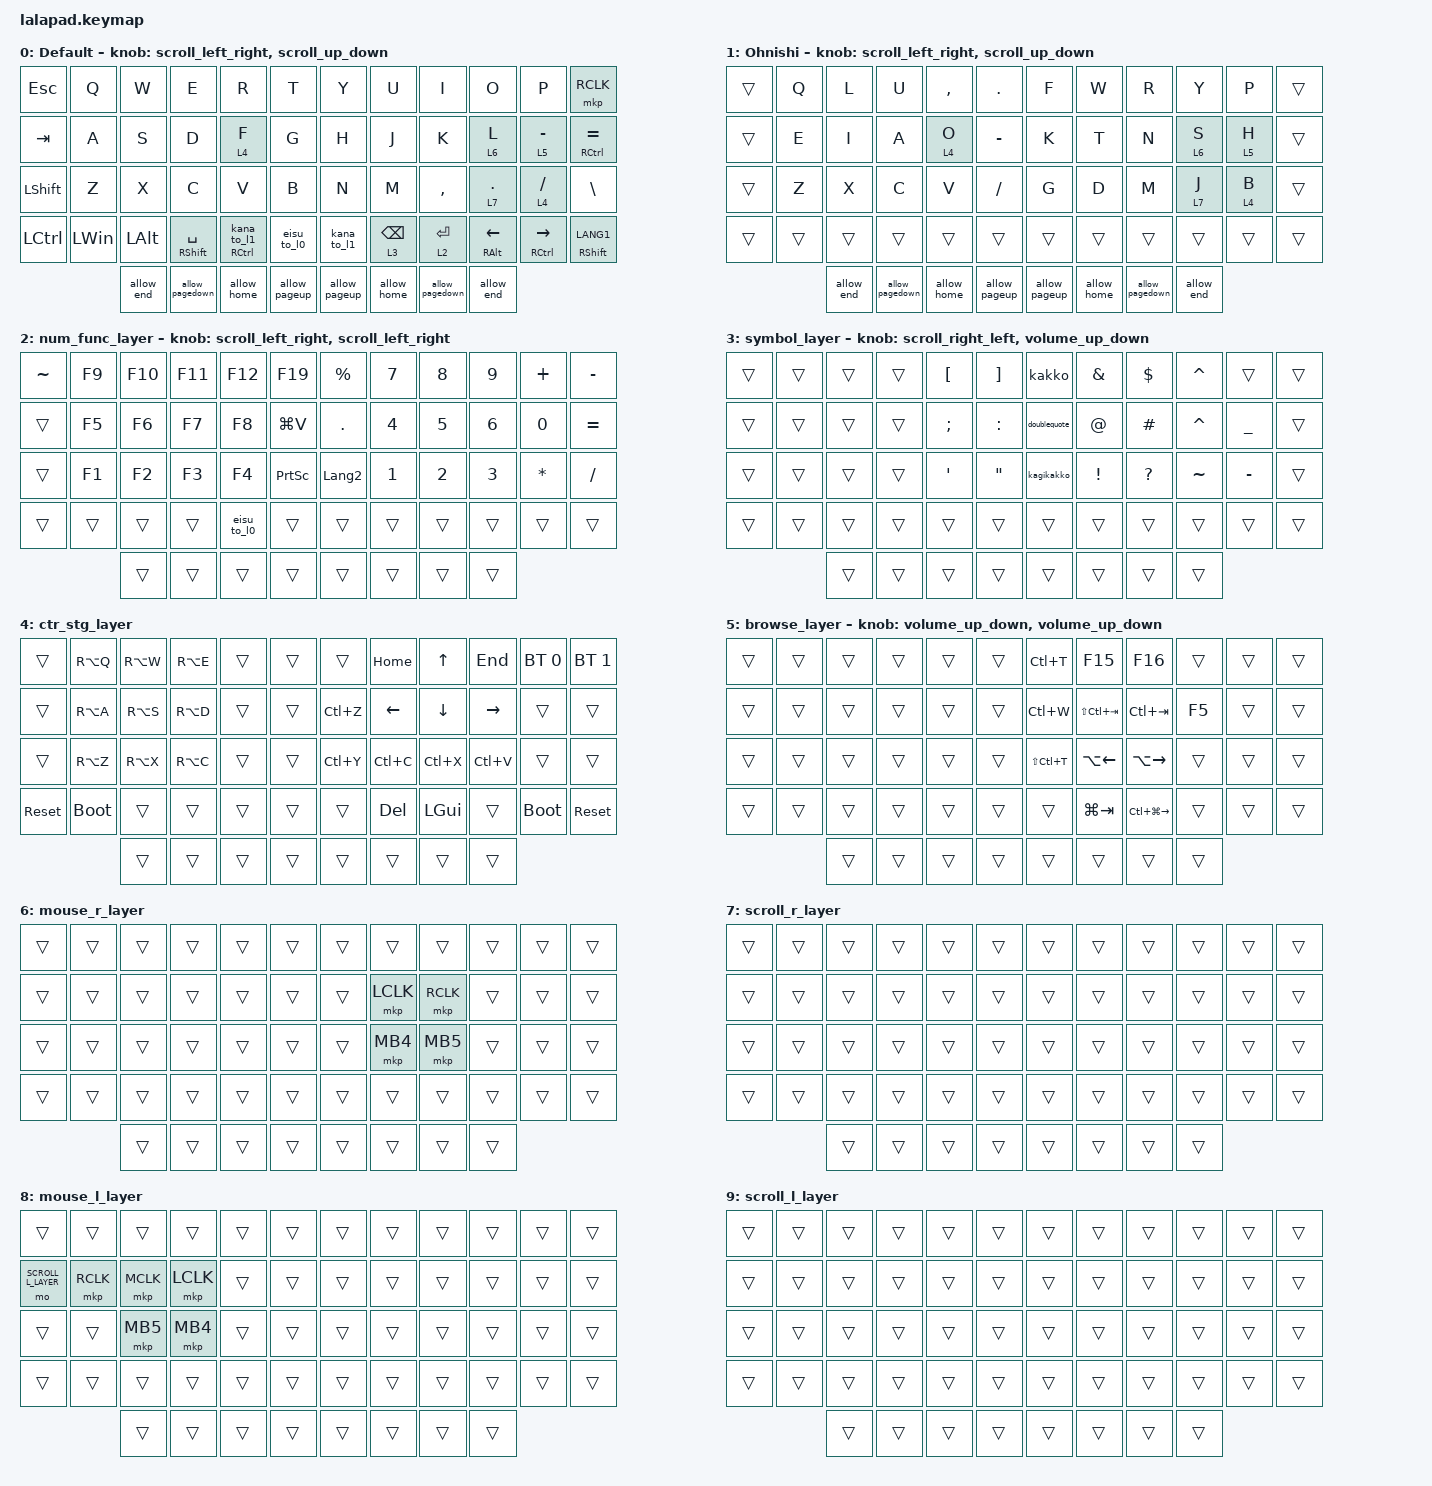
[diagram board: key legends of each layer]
#include <input/processors.dtsi>
#include <behaviors.dtsi>
#include <dt-bindings/zmk/bt.h>
#include <dt-bindings/zmk/keys.h>
#include <dt-bindings/zmk/pointing.h>

#define DEFAULT_LAYER   0
#define OHNISHI_LAYER   1
#define NUM_FUNC_LAYER  2
#define SYMBOL_LAYER    3
#define CTR_STG_LAYER   4
#define BROWSE_LAYER    5
#define MOUSE_R_LAYER   6
#define SCROLL_R_LAYER  7
#define MOUSE_L_LAYER   8
#define SCROLL_L_LAYER  9

// Mouse Scroll Value

#define ZMK_POINTING_DEFAULT_SCRL_VAL 100

// cirque trackpad input&layer control

&glidepoint_listener_R {
    input-processors =
        <&zip_xy_transform (INPUT_TRANSFORM_XY_SWAP | INPUT_TRANSFORM_X_INVERT | INPUT_TRANSFORM_Y_INVERT)>,
        <&zip_xy_scaler 9 4>;

    //<&zip_temp_layer MOUSE_R_LAYER 500>;

    lowspeedmode {
        layers = <BROWSE_LAYER>;
        input-processors =
            <&zip_xy_transform (INPUT_TRANSFORM_XY_SWAP | INPUT_TRANSFORM_X_INVERT | INPUT_TRANSFORM_Y_INVERT)>,
            <&zip_xy_scaler 5 1>;

        //<&zip_temp_layer MOUSE_R_LAYER 500>;
    };

    scroller {
        layers = <SCROLL_R_LAYER>;
        input-processors =
            <&zip_xy_to_scroll_mapper>,
            <&zip_scroll_transform (INPUT_TRANSFORM_XY_SWAP | INPUT_TRANSFORM_X_INVERT)>,
            // XではなくYを反転,,,,,,,,,
            <&zip_scroll_scaler 1 8>;
    };
};

&glidepoint_listener_L {
    input-processors =
        <&zip_xy_transform (INPUT_TRANSFORM_XY_SWAP | INPUT_TRANSFORM_X_INVERT | INPUT_TRANSFORM_Y_INVERT)>,
        <&zip_xy_scaler 5 2>,
        <&zip_temp_layer MOUSE_L_LAYER 500>;

    lowspeedmode {
        layers = <BROWSE_LAYER>;
        input-processors =
            <&zip_xy_transform (INPUT_TRANSFORM_XY_SWAP | INPUT_TRANSFORM_X_INVERT | INPUT_TRANSFORM_Y_INVERT)>,
            <&zip_xy_scaler 3 5>,
            <&zip_temp_layer MOUSE_L_LAYER 500>;
    };

    scroller {
        layers = <SCROLL_L_LAYER>;
        input-processors =
            <&zip_xy_to_scroll_mapper>,
            <&zip_scroll_transform (INPUT_TRANSFORM_XY_SWAP | INPUT_TRANSFORM_X_INVERT)>,
            <&zip_scroll_scaler 1 6>;
    };
};

/ {
    behaviors {
        // Encoder to Mouse Scroll

        scroll_up_down: sensor_scroll_up_down {
            compatible = "zmk,behavior-sensor-rotate";
            #sensor-binding-cells = <0>;
            bindings = <&msc SCRL_UP>, <&msc SCRL_DOWN>;

            tap-ms = <20>;
            label = "SCROLL_UP_DOWN";
        };

        scroll_down_up: sensor_scroll_down_up {
            compatible = "zmk,behavior-sensor-rotate";
            #sensor-binding-cells = <0>;
            bindings = <&msc SCRL_DOWN>, <&msc SCRL_UP>;

            tap-ms = <20>;
            label = "SCROLL_DOWN_UP";
        };

        scroll_left_right: sensor_scroll_left_right {
            compatible = "zmk,behavior-sensor-rotate";
            #sensor-binding-cells = <0>;
            bindings = <&msc SCRL_LEFT>, <&msc SCRL_RIGHT>;

            tap-ms = <20>;
            label = "SCROLL_LEFT_RIGHT";
        };

        scroll_right_left: sensor_scroll_right_left {
            compatible = "zmk,behavior-sensor-rotate";
            #sensor-binding-cells = <0>;
            bindings = <&msc SCRL_RIGHT>, <&msc SCRL_LEFT>;

            tap-ms = <20>;
            label = "SCROLL_RIGHT_LEFT";
        };

        volume_up_down: sensor_volume_up_down {
            compatible = "zmk,behavior-sensor-rotate";
            #sensor-binding-cells = <0>;
            bindings = <&kp C_VOLUME_UP>, <&kp C_VOLUME_DOWN>;

            tap-ms = <20>;
            label = "VOLUME_UP_DOWN";
        };

        dot_comma: dot_comma {
            compatible = "zmk,behavior-mod-morph";
            #binding-cells = <0>;
            bindings = <&kp KP_DOT>, <&kp COMMA>;

            mods = <(MOD_LSFT|MOD_RSFT)>;
            label = "DOT_COMMA";
        };

        pls_minus: pls_minus {
            compatible = "zmk,behavior-mod-morph";
            #binding-cells = <0>;
            bindings = <&kp PLUS>, <&kp MINUS>;

            mods = <(MOD_LSFT|MOD_RSFT)>;
            label = "PLS_MINUS";
        };

        allow_pageup: allow_pageup {
            compatible = "zmk,behavior-mod-morph";
            #binding-cells = <0>;
            bindings = <&kp UP>, <&kp PAGE_UP>;

            mods = <(MOD_LCTL|MOD_RCTL)>;
            label = "ALLOW_PAGEUP";
        };

        allow_pagedown: allow_pagedown {
            compatible = "zmk,behavior-mod-morph";
            #binding-cells = <0>;
            bindings = <&kp DOWN>, <&kp PAGE_DOWN>;

            mods = <(MOD_LCTL|MOD_RCTL)>;
            label = "ALLOW_PAGEDOWN";
        };

        allow_home: allow_home {
            compatible = "zmk,behavior-mod-morph";
            #binding-cells = <0>;
            bindings = <&kp LEFT>, <&kp HOME>;

            mods = <(MOD_LCTL|MOD_RCTL)>;
            label = "ALLOW_HOME";
        };

        allow_end: allow_end {
            compatible = "zmk,behavior-mod-morph";
            #binding-cells = <0>;
            bindings = <&kp RIGHT>, <&kp END>;

            mods = <(MOD_LCTL|MOD_RCTL)>;
            label = "ALLOW_END";
        };

        mt2: mod_tap2 {
            compatible = "zmk,behavior-hold-tap";
            #binding-cells = <2>;
            flavor = "tap-preferred";
            tapping-term-ms = <200>;
            quick-tap-ms = <200>;
            require-prior-idle-ms = <125>;
            bindings = <&kp>, <&kp>;
        };

        // 半角（LANG2）に“する”＋ Layer 0 に固定切替

        eisu_to_l0: eisu_to_l0 {
            compatible = "zmk,behavior-macro";
            label = "EISU_TO_L0";
            #binding-cells = <0>;

            // 先にレイヤ固定 → 直後に LANG1 送信

            bindings = <&to 0 &kp LANG2>;
        };

        // かな（LANG1）に“する”＋ Layer 1 に固定切替

        kana_to_l1: kana_to_l1 {
            compatible = "zmk,behavior-macro";
            label = "KANA_TO_L1";
            #binding-cells = <0>;

            // 先にレイヤ固定 → 直後に LANG1 送信

            bindings = <&to 1 &kp LANG1>;
        };

        kakko: kakko {
            compatible = "zmk,behavior-macro";
            #binding-cells = <0>;
            bindings = <&kp LANGUAGE_2 &kp LEFT_PARENTHESIS &kp RPAR &kp LEFT>;
            label = "KAKKO";
        };

        doublequote: ten {
            compatible = "zmk,behavior-macro";
            #binding-cells = <0>;
            bindings = <&kp LANGUAGE_2 &kp DQT &kp DQT &kp LEFT>;
            label = "TEN";
        };

        kagikakko: kagikakko {
            compatible = "zmk,behavior-macro";
            #binding-cells = <0>;
            bindings = <&kp LANGUAGE_1 &kp LEFT_BRACKET &kp RIGHT_BRACKET &kp LEFT>;
            label = "KAGIKAKKO";
        };

        td_space: td_space {
            compatible = "zmk,behavior-tap-dance";
            label = "TD_SPACE";
            #binding-cells = <0>;
            tapping-term-ms = <150>;  // ダブルタップ判定時間
            // 単タップ: 'SPACE'
            // 単ホールド: RSHIFT
            // ダブルタップ: 'SPACE'

            bindings = <&mt RSHIFT SPACE>, <&kp SPACE>;
        };

        td_backspace: td_backspace {
            compatible = "zmk,behavior-tap-dance";
            label = "TD_BACKSPACE";
            #binding-cells = <0>;
            tapping-term-ms = <150>;  // ダブルタップ判定時間
            // 単タップ: 'BACKSPACE'
            // 単ホールド: レイヤ3
            // ダブルタップ: 'BACKSPACE'

            bindings = <&lt 3 BACKSPACE>, <&kp BACKSPACE>;
        };

        td_enter: td_enter {
            compatible = "zmk,behavior-tap-dance";
            label = "TD_ENTER";
            #binding-cells = <0>;
            tapping-term-ms = <150>;  // ダブルタップ判定時間
            // 単タップ: 'ENTER'
            // 単ホールド: レイヤ2
            // ダブルタップ: 'ENTER' を2回送る

            bindings = <&lt 2 ENTER>, <&kp ENTER>;
        };

        mt_L0EN: mt_L0EN {
            compatible = "zmk,behavior-hold-tap";
            label = "MT_L0EN";
            bindings = <&kp>, <&eisu_to_l0>;

            #binding-cells = <2>;
            tapping-term-ms = <200>;
            flavor = "hold-preferred";
        };

        mt_L1JP: mt_L1JP {
            compatible = "zmk,behavior-hold-tap";
            label = "MT_L1JP";
            bindings = <&kp>, <&kana_to_l1>;

            #binding-cells = <2>;
            tapping-term-ms = <200>;
        };

        mt_qs_on: mt_qs_on {
            compatible = "zmk,behavior-hold-tap";
            label = "MT_QS_ON";
            bindings = <&kp>, <&kp>;

            #binding-cells = <2>;
            tapping-term-ms = <200>;
            quick-tap-ms = <200>;
        };

        lt_qs_on: lt_qs_on {
            compatible = "zmk,behavior-hold-tap";
            label = "LT_QS_ON";
            bindings = <&mo>, <&kp>;

            #binding-cells = <2>;
            tapping-term-ms = <200>;
            quick-tap-ms = <200>;
        };

        // 例：カスタム hold で LANG2 を一発送ってからレイヤをモーメンタリ
        //mo_eisu_2: mo_eisu_2 {
        //    compatible = "yourorg,behavior-mo-with-prime";
        //    #binding-cells = <0>;
        //    layer = <2>;              // 有効化するレイヤ番号
        //    prime-binding = <&kp LANG2>;  // ホールド開始時に一度だけ送るキー
        //};
    };

    macros {
    };

    keymap {
        compatible = "zmk,keymap";

        DEFAULT_LAYER {
            display-name = "Default";
            sensor-bindings = <&scroll_left_right>, <&scroll_up_down>;

            bindings = <
&kp ESC    &kp Q         &kp W         &kp E                        &kp R             &kp T          &kp Y          &kp U                  &kp I              &kp O               &kp P            &mkp RCLK
&kp TAB    &kp A         &kp S         &kp D                        &lt 4 F           &kp G          &kp H          &kp J                  &kp K              &lt 6 L             &lt 5 MINUS      &mt RCTRL EQUAL
&kp LSHFT  &kp Z         &kp X         &kp C                        &kp V             &kp B          &kp N          &kp M                  &kp COMMA          &lt 7 DOT           &lt 4 SLASH      &kp BSLH
&kp LCTRL  &kp LEFT_WIN  &kp LEFT_ALT  &mt_qs_on RIGHT_SHIFT SPACE  &mt_L1JP RCTRL 0  &eisu_to_l0    &kana_to_l1    &lt_qs_on 3 BACKSPACE  &lt_qs_on 2 ENTER  &mt RIGHT_ALT LEFT  &mt RCTRL RIGHT  &mt RIGHT_SHIFT LANG1
                         &allow_end    &allow_pagedown              &allow_home       &allow_pageup  &allow_pageup  &allow_home            &allow_pagedown    &allow_end
            >;
        };

        OHNISHI_LAYER {
            display-name = "Ohnishi";
            sensor-bindings = <&scroll_left_right>, <&scroll_up_down>;

            bindings = <
&trans  &kp Q   &kp L       &kp U            &kp COMMA    &kp PERIOD     &kp F          &kp W        &kp R            &kp Y       &kp P    &trans
&trans  &kp E   &kp I       &kp A            &lt 4 O      &kp MINUS      &kp K          &kp T        &kp N            &lt 6 S     &lt 5 H  &trans
&trans  &kp Z   &kp X       &kp C            &kp V        &kp SLASH      &kp G          &kp D        &kp M            &lt 7 J     &lt 4 B  &trans
&trans  &trans  &trans      &trans           &trans       &trans         &trans         &trans       &trans           &trans      &trans   &trans
                &allow_end  &allow_pagedown  &allow_home  &allow_pageup  &allow_pageup  &allow_home  &allow_pagedown  &allow_end
            >;
        };

        NUM_FUNC_LAYER {
            display-name = "num_func_layer";
            sensor-bindings = <&scroll_left_right>, <&scroll_left_right>;

            bindings = <
&kp TILDE  &kp F9  &kp F10  &kp F11  &kp F12      &kp F19          &kp PERCENT     &kp N7  &kp N8  &kp N9  &kp PLUS      &kp MINUS
&trans     &kp F5  &kp F6   &kp F7   &kp F8       &kp LG(V)        &kp PERIOD      &kp N4  &kp N5  &kp N6  &kp N0        &kp EQUAL
&trans     &kp F1  &kp F2   &kp F3   &kp F4       &kp PRINTSCREEN  &kp LANGUAGE_2  &kp N1  &kp N2  &kp N3  &kp ASTERISK  &kp SLASH
&trans     &trans  &trans   &trans   &eisu_to_l0  &trans           &trans          &trans  &trans  &trans  &trans        &trans
                   &trans   &trans   &trans       &trans           &trans          &trans  &trans  &trans
            >;
        };

        SYMBOL_LAYER {
            display-name = "symbol_layer";
            sensor-bindings = <&scroll_right_left>, <&volume_up_down>;

            bindings = <
&trans  &trans  &trans  &trans  &kp LBKT          &kp RBKT           &kakko        &kp AMPS  &kp DOLLAR  &kp CARET  &trans     &trans
&trans  &trans  &trans  &trans  &kp SEMI          &kp COLON          &doublequote  &kp AT    &kp HASH    &kp CARET  &kp UNDER  &trans
&trans  &trans  &trans  &trans  &kp SINGLE_QUOTE  &kp DOUBLE_QUOTES  &kagikakko    &kp EXCL  &kp QMARK   &kp TILDE  &kp MINUS  &trans
&trans  &trans  &trans  &trans  &trans            &trans             &trans        &trans    &trans      &trans     &trans     &trans
                &trans  &trans  &trans            &trans             &trans        &trans    &trans      &trans
            >;
        };

        CTR_OFFICE_LAYER {
            display-name = "ctr_stg_layer";
            bindings = <
&trans      &kp RA(Q)    &kp RA(W)  &kp RA(E)  &trans  &trans  &trans     &kp HOME    &kp UP        &kp END    &bt BT_SEL 0  &bt BT_SEL 1
&trans      &kp RA(A)    &kp RA(S)  &kp RA(D)  &trans  &trans  &kp LC(Z)  &kp LEFT    &kp DOWN      &kp RIGHT  &trans        &trans
&trans      &kp RA(Z)    &kp RA(X)  &kp RA(C)  &trans  &trans  &kp LC(Y)  &kp LC(C)   &kp LC(X)     &kp LC(V)  &trans        &trans
&sys_reset  &bootloader  &trans     &trans     &trans  &trans  &trans     &kp DELETE  &kp LEFT_GUI  &trans     &bootloader   &sys_reset
                         &trans     &trans     &trans  &trans  &trans     &trans      &trans        &trans
            >;
        };

        BROWSE_LAYER {
            display-name = "browse_layer";
            sensor-bindings = <&volume_up_down>, <&volume_up_down>;

            bindings = <
&trans  &trans  &trans  &trans  &trans  &trans  &kp LC(T)      &kp F15          &kp F16            &trans  &trans  &trans
&trans  &trans  &trans  &trans  &trans  &trans  &kp LC(W)      &kp LS(LC(TAB))  &kp LC(TAB)        &kp F5  &trans  &trans
&trans  &trans  &trans  &trans  &trans  &trans  &kp LS(LC(T))  &kp LA(LEFT)     &kp LA(RIGHT)      &trans  &trans  &trans
&trans  &trans  &trans  &trans  &trans  &trans  &trans         &kp LG(TAB)      &kp LC(LG(RIGHT))  &trans  &trans  &trans
                &trans  &trans  &trans  &trans  &trans         &trans           &trans             &trans
            >;
        };

        MOUSE_R_LAYER {
            display-name = "mouse_r_layer";
            bindings = <
&trans  &trans  &trans  &trans  &trans  &trans  &trans  &trans     &trans     &trans  &trans  &trans
&trans  &trans  &trans  &trans  &trans  &trans  &trans  &mkp LCLK  &mkp RCLK  &trans  &trans  &trans
&trans  &trans  &trans  &trans  &trans  &trans  &trans  &mkp MB4   &mkp MB5   &trans  &trans  &trans
&trans  &trans  &trans  &trans  &trans  &trans  &trans  &trans     &trans     &trans  &trans  &trans
                &trans  &trans  &trans  &trans  &trans  &trans     &trans     &trans
            >;
        };

        SCROLL_R_LAYER {
            display-name = "scroll_r_layer";
            bindings = <
&trans  &trans  &trans  &trans  &trans  &trans  &trans  &trans  &trans  &trans  &trans  &trans
&trans  &trans  &trans  &trans  &trans  &trans  &trans  &trans  &trans  &trans  &trans  &trans
&trans  &trans  &trans  &trans  &trans  &trans  &trans  &trans  &trans  &trans  &trans  &trans
&trans  &trans  &trans  &trans  &trans  &trans  &trans  &trans  &trans  &trans  &trans  &trans
                &trans  &trans  &trans  &trans  &trans  &trans  &trans  &trans
            >;
        };

        MOUSE_L_LAYER {
            display-name = "mouse_l_layer";
            bindings = <
&trans              &trans     &trans     &trans     &trans  &trans  &trans  &trans  &trans  &trans  &trans  &trans
&mo SCROLL_L_LAYER  &mkp RCLK  &mkp MCLK  &mkp LCLK  &trans  &trans  &trans  &trans  &trans  &trans  &trans  &trans
&trans              &trans     &mkp MB5   &mkp MB4   &trans  &trans  &trans  &trans  &trans  &trans  &trans  &trans
&trans              &trans     &trans     &trans     &trans  &trans  &trans  &trans  &trans  &trans  &trans  &trans
                               &trans     &trans     &trans  &trans  &trans  &trans  &trans  &trans
            >;
        };

        SCROLL_L_LAYER {
            display-name = "scroll_l_layer";
            bindings = <
&trans  &trans  &trans  &trans  &trans  &trans  &trans  &trans  &trans  &trans  &trans  &trans
&trans  &trans  &trans  &trans  &trans  &trans  &trans  &trans  &trans  &trans  &trans  &trans
&trans  &trans  &trans  &trans  &trans  &trans  &trans  &trans  &trans  &trans  &trans  &trans
&trans  &trans  &trans  &trans  &trans  &trans  &trans  &trans  &trans  &trans  &trans  &trans
                &trans  &trans  &trans  &trans  &trans  &trans  &trans  &trans
            >;
        };
    };
};
